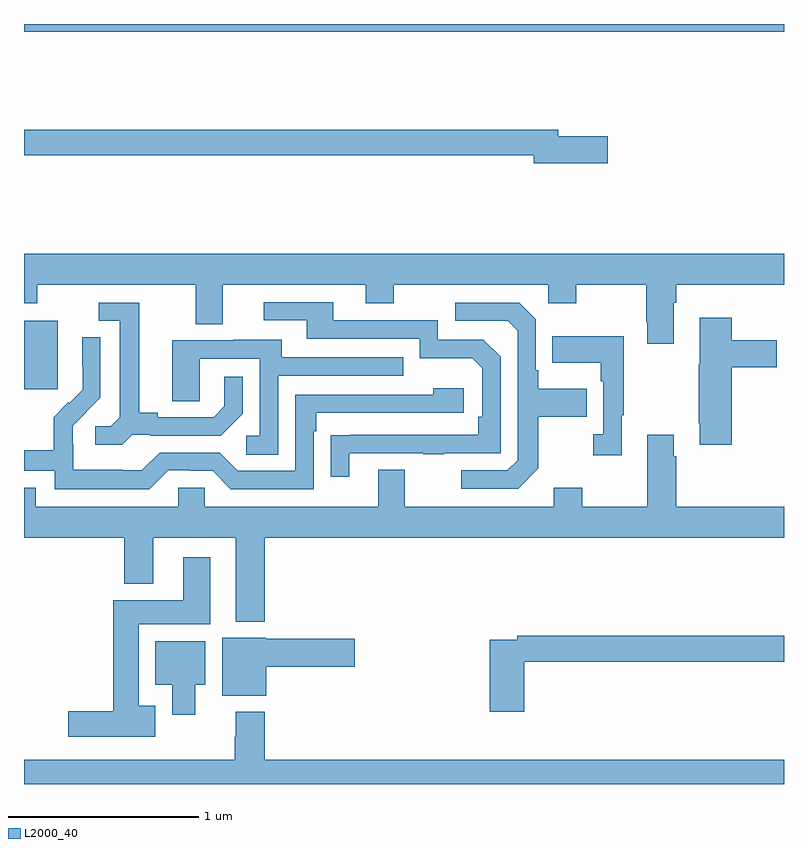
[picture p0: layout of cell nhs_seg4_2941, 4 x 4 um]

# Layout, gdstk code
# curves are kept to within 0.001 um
import gdstk
lib = gdstk.Library(unit=1e-6, precision=1e-09)
def R(c, l, rs):  # rectangles x0, y0, x1, y1
    for r in rs: c.add(gdstk.rectangle(r[:2], r[2:], *l))
def P(c, l, *ps):  # polygons
    for p in ps: c.add(gdstk.Polygon(p, *l))
L2000_40 = (2000, 40)

nhs_seg4_2941 = lib.new_cell('nhs_seg4_2941')
R(nhs_seg4_2941, L2000_40, [(267,754.977,267.178,755.338), (267,756.86,271,756.9)])
P(nhs_seg4_2941, L2000_40, [(270.073,756.308),(269.812,756.308),(269.812,756.344),(267,756.344),(267,756.208),(269.684,756.208),(269.684,756.166),(270.073,756.166)],
  [(267,755.429),(267.069,755.429),(267.069,755.528),(267.905,755.528),(267.905,755.32),(268.045,755.32),(268.045,755.528),(268.799,755.528),(268.799,755.429),(268.947,755.429),(268.947,755.528),(269.76,755.528),(269.76,755.429),(269.907,755.429),(269.907,755.528),(270.274,755.528),(270.274,755.329),(270.281,755.329),(270.281,755.217),(270.421,755.217),(270.421,755.432),(270.434,755.432),(270.434,755.528),(271,755.528),(271,755.692),(267,755.692)],
  [(268.711,754.641),(269.101,754.641),(269.101,754.636),(269.213,754.636),(269.213,754.641),(269.508,754.641),(269.508,755.148),(269.418,755.238),(269.178,755.238),(269.178,755.34),(268.627,755.34),(268.627,755.436),(268.263,755.436),(268.263,755.34),(268.487,755.34),(268.487,755.244),(269.082,755.244),(269.082,755.141),(269.359,755.141),(269.412,755.088),(269.412,754.834),(269.392,754.834),(269.392,754.737),(268.615,754.736),(268.615,754.518),(268.711,754.518)],
  [(269.707,754.561),(269.707,754.834),(269.963,754.834),(269.963,754.981),(269.707,754.981),(269.707,755.077),(269.694,755.077),(269.694,755.346),(269.607,755.433),(269.271,755.433),(269.271,755.337),(269.547,755.337),(269.598,755.286),(269.598,754.605),(269.544,754.551),(269.301,754.551),(269.301,754.455),(269.601,754.455)],
  [(267.57,754.737),(267.664,754.737),(267.664,754.734),(268.036,754.734),(268.152,754.85),(268.152,755.044),(268.055,755.044),(268.055,754.887),(267.998,754.83),(267.703,754.83),(267.703,754.853),(267.607,754.853),(267.607,755.433),(267.393,755.433),(267.393,755.337),(267.503,755.337),(267.503,754.829),(267.456,754.782),(267.375,754.782),(267.375,754.685),(267.518,754.685)],
  [(270.725,755.093),(270.961,755.093),(270.961,755.235),(270.725,755.235),(270.725,755.353),(270.557,755.353),(270.557,755.109),(270.55,755.109),(270.55,754.798),(270.557,754.798),(270.557,754.686),(270.725,754.686)],
  [(270.145,754.841),(270.157,754.841),(270.157,755.257),(269.779,755.257),(269.779,755.117),(270.036,755.117),(270.036,755.021),(270.048,755.021),(270.048,754.742),(269.997,754.742),(269.997,754.629),(270.145,754.629)],
  [(267.759,754.551),(267.875,754.551),(267.875,754.548),(267.993,754.548),(268.089,754.452),(268.524,754.452),(268.524,754.757),(268.537,754.757),(268.537,754.854),(269.314,754.854),(269.314,754.984),(269.153,754.984),(269.153,754.95),(268.428,754.95),(268.428,754.548),(268.125,754.548),(268.029,754.644),(267.714,754.644),(267.621,754.551),(267.521,754.551),(267.521,754.555),(267.258,754.555),(267.258,754.689),(267.256,754.689),(267.256,754.786),(267.402,754.934),(267.402,755.252),(267.306,755.252),(267.306,755.098),(267.308,755.098),(267.308,754.976),(267.237,754.905),(267.234,754.908),(267.157,754.831),(267.157,754.657),(267,754.657),(267,754.548),(267.162,754.548),(267.162,754.451),(267.659,754.451)],
  [(268.338,755.049),(268.997,755.049),(268.997,755.145),(268.357,755.145),(268.357,755.239),(268.103,755.239),(268.103,755.235),(267.779,755.235),(267.779,754.915),(267.924,754.915),(267.924,755.139),(268.242,755.139),(268.242,754.734),(268.17,754.734),(268.17,754.633),(268.338,754.633)],
  [(268.268,754.196),(271,754.196),(271,754.36),(270.434,754.36),(270.434,754.625),(270.421,754.625),(270.421,754.738),(270.281,754.738),(270.281,754.36),(269.937,754.36),(269.937,754.459),(269.789,754.459),(269.789,754.36),(269.005,754.36),(269.005,754.555),(268.865,754.555),(268.865,754.36),(267.951,754.36),(267.951,754.458),(267.813,754.458),(267.813,754.36),(267.061,754.36),(267.061,754.459),(267,754.459),(267,754.196),(267.527,754.196),(267.527,753.953),(267.679,753.953),(267.679,754.196),(268.115,754.196),(268.115,753.755),(268.268,753.755)],
  [(267.691,753.313),(267.604,753.313),(267.604,753.74),(267.979,753.74),(267.979,754.093),(267.839,754.093),(267.839,753.868),(267.47,753.868),(267.47,753.284),(267.234,753.284),(267.234,753.149),(267.691,753.149)],
  [(269.633,753.544),(271,753.544),(271,753.68),(269.596,753.68),(269.596,753.66),(269.45,753.66),(269.45,753.279),(269.633,753.279)],
  [(268.276,753.518),(268.741,753.518),(268.741,753.665),(268.272,753.665),(268.272,753.67),(268.043,753.67),(268.043,753.365),(268.276,753.365)],
  [(267.901,753.422),(267.955,753.422),(267.955,753.652),(267.692,753.652),(267.692,753.422),(267.779,753.422),(267.779,753.264),(267.901,753.264)],
  [(271,753.028),(268.268,753.028),(268.268,753.28),(268.115,753.28),(268.115,753.149),(268.108,753.149),(268.108,753.028),(267,753.028),(267,752.9),(271,752.9)])

lib.write_gds('nhs_seg4_2941.gds')
